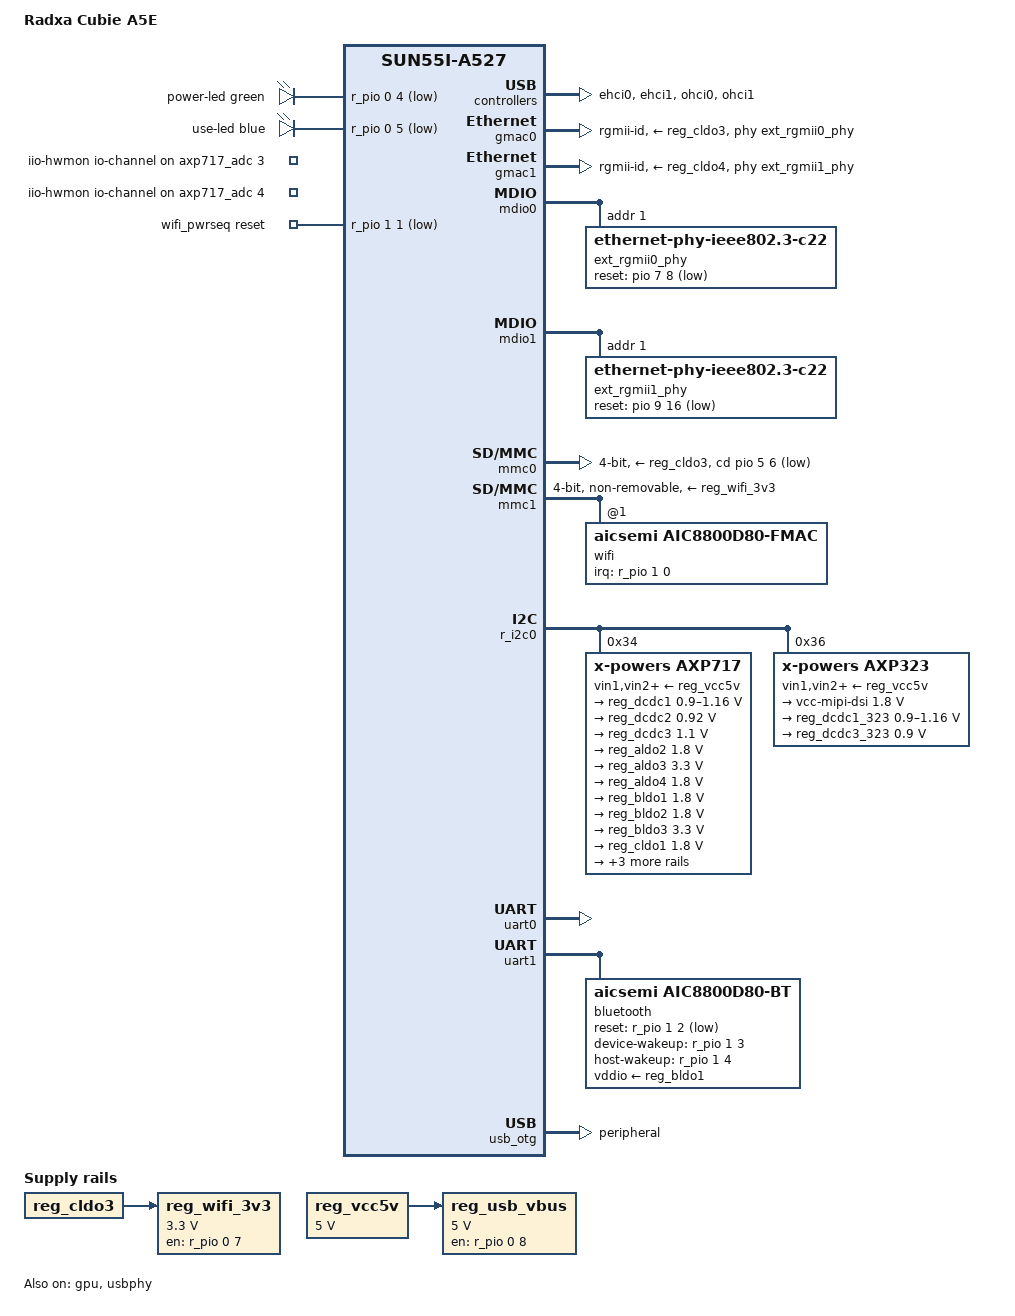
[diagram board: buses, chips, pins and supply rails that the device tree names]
// SPDX-License-Identifier: (GPL-2.0-only OR MIT)
// Copyright (C) 2025 Arm Ltd.

/dts-v1/;

#include "sun55i-a523.dtsi"

#include <dt-bindings/gpio/gpio.h>
#include <dt-bindings/interrupt-controller/irq.h>
#include <dt-bindings/leds/common.h>

/ {
	model = "Radxa Cubie A5E";
	compatible = "radxa,cubie-a5e", "allwinner,sun55i-a527";

	aliases {
		ethernet0 = &gmac0;
		ethernet1 = &gmac1;
		serial0 = &uart0;
	};

	chosen {
		stdout-path = "serial0:115200n8";
	};

	leds {
		compatible = "gpio-leds";

		power-led {
			function = LED_FUNCTION_POWER;
			color = <LED_COLOR_ID_GREEN>;
			gpios = <&r_pio 0 4 GPIO_ACTIVE_LOW>; /* PL4 */
			default-state = "on";
			linux,default-trigger = "heartbeat";
		};

		use-led {
			function = LED_FUNCTION_ACTIVITY;
			color = <LED_COLOR_ID_BLUE>;
			gpios = <&r_pio 0 5 GPIO_ACTIVE_LOW>; /* PL5 */
		};
	};

	iio-hwmon {
		compatible = "iio-hwmon";
		io-channels = <&axp717_adc 3>, /* vsys_v */
			      <&axp717_adc 4>; /* pmic_temp */
	};

	reg_vcc5v: vcc5v {
		/* board wide 5V supply from the USB-C connector */
		compatible = "regulator-fixed";
		regulator-name = "vcc-5v";
		regulator-min-microvolt = <5000000>;
		regulator-max-microvolt = <5000000>;
		regulator-always-on;
	};

	reg_wifi_3v3: wifi-3v3 {
		/* switched by Q10, driven from PL7 */
		compatible = "regulator-fixed";
		regulator-name = "wifi-3v3";
		regulator-min-microvolt = <3300000>;
		regulator-max-microvolt = <3300000>;
		vin-supply = <&reg_cldo3>;
		gpio = <&r_pio 0 7 GPIO_ACTIVE_HIGH>;	/* PL7 */
		enable-active-high;
		startup-delay-us = <20000>;
	};

	wifi_pwrseq: pwrseq-wifi {
		compatible = "mmc-pwrseq-simple";
		reset-gpios = <&r_pio 1 1 GPIO_ACTIVE_LOW>;	/* PM1 */
		post-power-on-delay-ms = <200>;
	};

	reg_usb_vbus: vbus {
		compatible = "regulator-fixed";
		regulator-name = "usb-vbus";
		regulator-min-microvolt = <5000000>;
		regulator-max-microvolt = <5000000>;
		vin-supply = <&reg_vcc5v>;
		gpio = <&r_pio 0 8 GPIO_ACTIVE_HIGH>;	/* PL8 */
		enable-active-high;
	};
};

&ehci0 {
	status = "okay";
};

&ehci1 {
	status = "okay";
};

&gmac0 {
	phy-mode = "rgmii-id";
	phy-handle = <&ext_rgmii0_phy>;
	phy-supply = <&reg_cldo3>;

	allwinner,tx-delay-ps = <300>;
	allwinner,rx-delay-ps = <400>;

	status = "okay";
};

&gmac1 {
	phy-mode = "rgmii-id";
	phy-handle = <&ext_rgmii1_phy>;
	phy-supply = <&reg_cldo4>;

	tx-internal-delay-ps = <300>;
	rx-internal-delay-ps = <400>;

	status = "okay";
};

&gpu {
	mali-supply = <&reg_dcdc2>;
	status = "okay";
};

&mdio0 {
	ext_rgmii0_phy: ethernet-phy@1 {
		compatible = "ethernet-phy-ieee802.3-c22";
		reg = <1>;
		reset-gpios = <&pio 7 8 GPIO_ACTIVE_LOW>; /* PH8 */
		reset-assert-us = <10000>;
		reset-deassert-us = <150000>;
	};
};

&mdio1 {
	ext_rgmii1_phy: ethernet-phy@1 {
		compatible = "ethernet-phy-ieee802.3-c22";
		reg = <1>;
		reset-gpios = <&pio 9 16 GPIO_ACTIVE_LOW>; /* PJ16 */
		reset-assert-us = <10000>;
		reset-deassert-us = <150000>;
	};
};

&mmc0 {
	vmmc-supply = <&reg_cldo3>;
	vqmmc-supply = <&reg_vcc_pf>;
	cd-gpios = <&pio 5 6 (GPIO_ACTIVE_LOW | GPIO_PULL_UP)>; /* PF6 */
	bus-width = <4>;
	sd-uhs-sdr50;
	sd-uhs-ddr50;
	sd-uhs-sdr104;
	status = "okay";
};

&mmc1 {
	vmmc-supply = <&reg_wifi_3v3>;
	vqmmc-supply = <&reg_bldo1>;
	mmc-pwrseq = <&wifi_pwrseq>;
	bus-width = <4>;
	non-removable;
	/*
	 * The controller has no tuning support, so the SDR50 and SDR104 modes
	 * cannot be used even though both ends would allow them.  Of the high
	 * speed rates the bus is stable up to 37.5 MHz; at 50 MHz the device
	 * answers part of the writes with a CRC error.
	 */
	max-frequency = <37500000>;
	status = "okay";

	wifi@1 {
		compatible = "aicsemi,aic8800d80-fmac";
		reg = <1>;
		interrupt-parent = <&r_pio>;
		interrupts = <1 0 IRQ_TYPE_EDGE_RISING>;	/* PM0 */
		interrupt-names = "host-wake";
	};
};

&ohci0 {
	status = "okay";
};

&ohci1 {
	status = "okay";
};

&pio {
	vcc-pb-supply = <&reg_cldo3>;	/* via VCC-IO */
	vcc-pc-supply = <&reg_cldo1>;
	vcc-pd-supply = <&reg_cldo3>;
	vcc-pe-supply = <&reg_aldo2>;
	vcc-pf-supply = <&reg_vcc_pf>;
	vcc-pg-supply = <&reg_bldo1>;
	vcc-ph-supply = <&reg_cldo3>;	/* via VCC-IO */
	vcc-pi-supply = <&reg_cldo3>;
	vcc-pj-supply = <&reg_cldo4>;
	vcc-pk-supply = <&reg_cldo1>;

	/*
	 * The PF bank supply is generated inside the SoC, which switches
	 * it between the 1.8V rail (CLDO1, via VCC-1V8) and VCC-IO. Only
	 * the 1.8V input needs describing here, as VCC-IO is always on.
	 */
	reg_vcc_pf: vcc-pf {
		regulator-name = "vcc-pf";
		regulator-min-microvolt = <1800000>;
		regulator-max-microvolt = <3300000>;
		regulator-always-on;
		vin-supply = <&reg_cldo1>;
	};
};

&r_i2c0 {
	status = "okay";

	axp717: pmic@34 {
		compatible = "x-powers,axp717";
		reg = <0x34>;
		interrupt-controller;
		#interrupt-cells = <1>;
		interrupt-parent = <&nmi_intc>;
		interrupts = <0 IRQ_TYPE_LEVEL_LOW>;

		vin1-supply = <&reg_vcc5v>;
		vin2-supply = <&reg_vcc5v>;
		vin3-supply = <&reg_vcc5v>;
		vin4-supply = <&reg_vcc5v>;
		aldoin-supply = <&reg_vcc5v>;
		bldoin-supply = <&reg_vcc5v>;
		cldoin-supply = <&reg_vcc5v>;

		axp717_adc: adc {
			compatible = "x-powers,axp717-adc";
			#io-channel-cells = <1>;
		};

		battery-power {
			compatible = "x-powers,axp717-battery-power-supply";
			/* charger mode design but has no battery terminal */
			status = "disabled";
		};

		regulators {
			/* Supplies the "little" cluster (1.4 GHz cores) */
			reg_dcdc1: dcdc1 {
				regulator-always-on;
				regulator-min-microvolt = <900000>;
				regulator-max-microvolt = <1160000>;
				regulator-name = "vdd-cpul";
			};

			reg_dcdc2: dcdc2 {
				regulator-always-on;
				regulator-min-microvolt = <920000>;
				regulator-max-microvolt = <920000>;
				regulator-name = "vdd-gpu-sys";
			};

			reg_dcdc3: dcdc3 {
				regulator-always-on;
				regulator-min-microvolt = <1100000>;
				regulator-max-microvolt = <1100000>;
				regulator-name = "vdd-dram";
			};

			reg_aldo1: aldo1 {
				/* not connected */
			};

			reg_aldo2: aldo2 {
				regulator-min-microvolt = <1800000>;
				regulator-max-microvolt = <1800000>;
				regulator-name = "vcc-pe";
			};

			reg_aldo3: aldo3 {
				/* supplies the I2C pins for this PMIC */
				regulator-always-on;
				regulator-min-microvolt = <3300000>;
				regulator-max-microvolt = <3300000>;
				regulator-name = "vcc-pl-usb";
			};

			reg_aldo4: aldo4 {
				regulator-always-on;
				regulator-min-microvolt = <1800000>;
				regulator-max-microvolt = <1800000>;
				regulator-name = "vcc-pll-dxco-avcc";
			};

			reg_bldo1: bldo1 {
				regulator-min-microvolt = <1800000>;
				regulator-max-microvolt = <1800000>;
				regulator-name = "vcc-pg-iowifi";
			};

			reg_bldo2: bldo2 {
				regulator-always-on;
				regulator-min-microvolt = <1800000>;
				regulator-max-microvolt = <1800000>;
				regulator-name = "vcc-pm-lpddr4";
			};

			reg_bldo3: bldo3 {
				regulator-min-microvolt = <3300000>;
				regulator-max-microvolt = <3300000>;
				regulator-name = "vcc-mipi-cam";
			};

			reg_bldo4: bldo4 {
				/* not connected */
			};

			reg_cldo1: cldo1 {
				regulator-min-microvolt = <1800000>;
				regulator-max-microvolt = <1800000>;
				regulator-name = "vcc-pc-and-their-dog";
			};

			reg_cldo2: cldo2 {
				/* not connected */
			};

			reg_cldo3: cldo3 {
				/* IO, USB-2, 3V3, card, NAND, sensor, PI */
				regulator-always-on;
				regulator-min-microvolt = <3300000>;
				regulator-max-microvolt = <3300000>;
				regulator-name = "vcc-io-mmc-spi-ana";
			};

			reg_cldo4: cldo4 {
				regulator-min-microvolt = <3300000>;
				regulator-max-microvolt = <3300000>;
				regulator-name = "vcc-pj-phy";
				/* enough time for the PHY to fully power on */
				regulator-enable-ramp-delay = <150000>;
			};

			reg_cpusldo: cpusldo {
				/* supplies the management core */
				regulator-always-on;
				regulator-min-microvolt = <900000>;
				regulator-max-microvolt = <900000>;
				regulator-name = "vdd-cpus";
			};
		};

		usb-power {
			compatible = "x-powers,axp717-usb-power-supply";
		};
	};

	axp323: pmic@36 {
		compatible = "x-powers,axp323";
		reg = <0x36>;
		#interrupt-cells = <1>;
		interrupt-controller;
		interrupt-parent = <&nmi_intc>;
		interrupts = <0 IRQ_TYPE_LEVEL_LOW>;
		status = "okay";

		vin1-supply = <&reg_vcc5v>;
		vin2-supply = <&reg_vcc5v>;
		vin3-supply = <&reg_vcc5v>;

		regulators {
			aldo1 {
				regulator-min-microvolt = <1800000>;
				regulator-max-microvolt = <1800000>;
				regulator-name = "vcc-mipi-dsi";
			};

			dldo1 {
				/* not connected */
			};

			/* Supplies the "big" cluster (1.8 GHz cores) */
			reg_dcdc1_323: dcdc1 {
				regulator-always-on;
				regulator-min-microvolt = <900000>;
				regulator-max-microvolt = <1160000>;
				regulator-name = "vdd-cpub";
			};

			/* DCDC2 is polyphased with DCDC1 */

			/* RISC-V management core supply */
			reg_dcdc3_323: dcdc3 {
				regulator-always-on;
				regulator-min-microvolt = <900000>;
				regulator-max-microvolt = <900000>;
				regulator-name = "vdd-dnr";
			};
		};
	};
};

&r_pio {
/*
 * Specifying the supply would create a circular dependency.
 *
 *	vcc-pl-supply = <&reg_aldo3>;
 */
	vcc-pm-supply = <&reg_aldo3>;
};

&uart0 {
	pinctrl-names = "default";
	pinctrl-0 = <&uart0_pb_pins>;
	status = "okay";
};

&uart1 {
	pinctrl-names = "default";
	pinctrl-0 = <&uart1_pins>, <&uart1_rts_cts_pins>;
	uart-has-rtscts;
	/* the controller drops what it cannot take, so the handshake is not optional */
	auto-flow-control;
	status = "okay";

	bluetooth {
		compatible = "aicsemi,aic8800d80-bt";
		reset-gpios = <&r_pio 1 2 GPIO_ACTIVE_LOW>;		/* PM2 */
		device-wakeup-gpios = <&r_pio 1 3 GPIO_ACTIVE_HIGH>;	/* PM3 */
		host-wakeup-gpios = <&r_pio 1 4 GPIO_ACTIVE_HIGH>;	/* PM4 */
		vddio-supply = <&reg_bldo1>;
	};
};

&usb_otg {
	/*
	 * The USB-C port is the primary power supply, so in this configuration
	 * relies on the other end of the USB cable to supply the VBUS power.
	 * So use this port in peripheral mode.
	 * It is possible to supply the board with the 5V pins on the GPIO
	 * header, and since the DCIN_5V line is hardwired to the USB-C VBUS
	 * pins, the port turns into a host port, unconditionally supplying
	 * power. The dr_mode property should be changed to "host" here, if
	 * users choose this setup.
	 */
	dr_mode = "peripheral";
	status = "okay";
};

/*
 * The schematic describes USB0_ID (PL10), measuring VBUS_5V, which looks to
 * be always on. Also there is USB-VBUSDET (PL2), which is measuring the same
 * VBUS_5V. There is also DCIN_DET, which measures DCIN_5V, so the power
 * input rail.
 * None of them seem to make any sense in relation to detecting USB devices
 * or whether there is power provided via any USB pins: they would always
 * report high, otherwise the system wouldn't be running.
 * The AXP717C provides proper USB-C CC pin functionality, but the PMIC is
 * not connected to those pins of the USB-C connector.
 */
&usbphy {
	usb0_vbus-supply = <&reg_vcc5v>;
	usb1_vbus-supply = <&reg_usb_vbus>;
	status = "okay";
};

/*
 * The wireless module cannot take the drive strength the other slots use: at
 * anything above 25 MHz it answers writes made with 30 mA with a CRC error,
 * while 20 mA works up to 37.5 MHz.
 */
&mmc1_pins {
	drive-strength = <20>;
};
